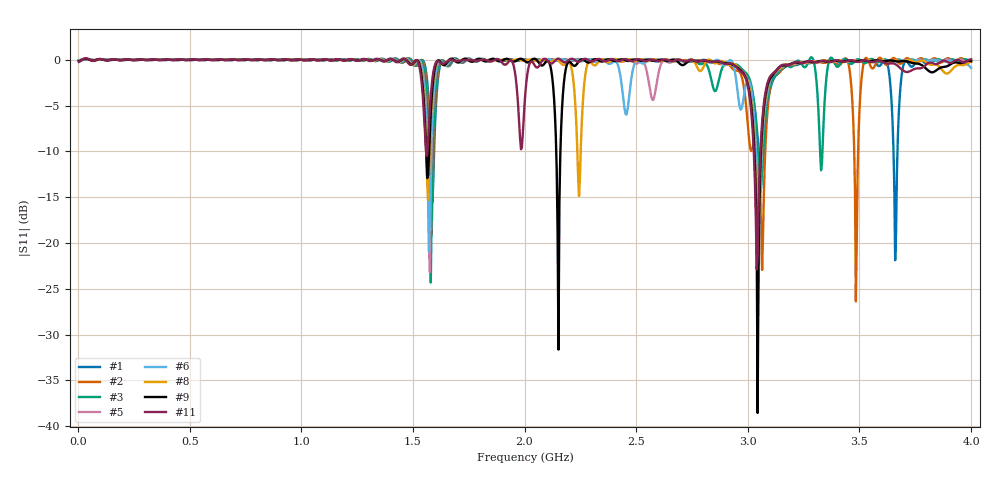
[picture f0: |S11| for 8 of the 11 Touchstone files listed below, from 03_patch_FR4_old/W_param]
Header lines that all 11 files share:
! TOUCHSTONE file generated by CST MICROWAVE STUDIO
! Project name: AppElm_antenne_patch_FR4.cst
! Header version: 2018
! Port assignment regex: !\s*Touchstone port\s*([0-9]+)\s*=\s*(CST MWS port|CST DS port)\s*([0-9]+|Zmin|Zmax)\s*\(\"(.*)\"\)(\s*mode\s*([0-9]+))?.*
! Touchstone port assignment:
! Touchstone port 1 = CST MWS port 1 ("")
# GHz S MA R 50
Fixed: L = 45, e = 0.035, h = 1.6, lambda = 0.190476, ls = 120, w0 = 1.6, w1 = 0.533333, ws = 120, y0 = 20, y1 = 23.8095
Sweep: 4 MHz to 4 GHz
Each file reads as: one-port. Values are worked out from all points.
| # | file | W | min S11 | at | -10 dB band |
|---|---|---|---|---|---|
| 1 | AppElm_antenne_patch_FR4_1.s1p | 43.875 | -21.9 dB | 3.66 GHz | 15.46 MHz wide |
| 2 | AppElm_antenne_patch_FR4_2.s1p | 46.8 | -26.4 dB | 3.484 GHz | 33.47 MHz wide |
| 3 | AppElm_antenne_patch_FR4_3.s1p | 49.725 | -24.3 dB | 1.58 GHz | 24.3 MHz wide |
| 4 | AppElm_antenne_patch_FR4_4.s1p | 52.65 | -26.4 dB | 1.576 GHz | 25.64 MHz wide |
| 5 | AppElm_antenne_patch_FR4_5.s1p | 55.575 | -23.2 dB | 1.576 GHz | 22.38 MHz wide |
| 6 | AppElm_antenne_patch_FR4_6.s1p | 58.5 | -24.3 dB | 3.048 GHz | 28.04 MHz wide |
| 7 | AppElm_antenne_patch_FR4_7.s1p | 61.425 | -30.0 dB | 3.048 GHz | 30.13 MHz wide |
| 8 | AppElm_antenne_patch_FR4_8.s1p | 64.35 | -31.1 dB | 3.044 GHz | 29.9 MHz wide |
| 9 | AppElm_antenne_patch_FR4_9.s1p | 67.275 | -38.5 dB | 3.044 GHz | 29.76 MHz wide |
| 10 | AppElm_antenne_patch_FR4_10.s1p | 70.2 | -26.1 dB | 3.044 GHz | 29.55 MHz wide |
| 11 | AppElm_antenne_patch_FR4_11.s1p | 73.125 | -22.9 dB | 3.04 GHz | 29.94 MHz wide |
